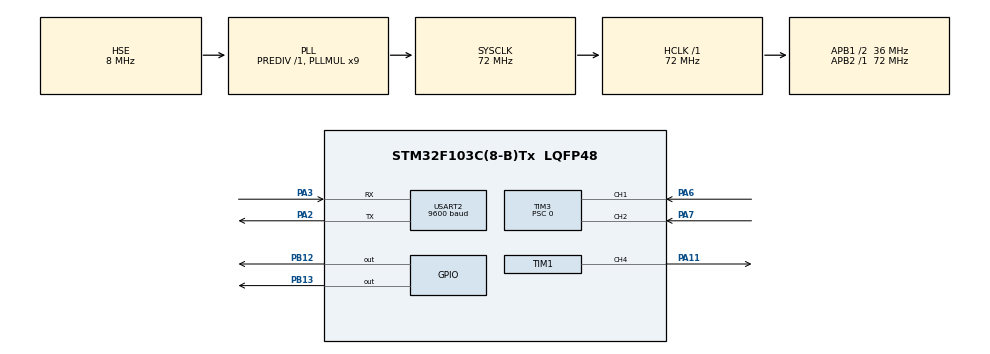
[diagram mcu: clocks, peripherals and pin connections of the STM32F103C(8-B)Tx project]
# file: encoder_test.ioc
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Mcu.Family=STM32F1
Mcu.Name=STM32F103C(8-B)Tx
Mcu.Package=LQFP48
NVIC.PriorityGroup=NVIC_PRIORITYGROUP_4
NVIC.TIM4_IRQn=true\:0\:0\:false\:false\:true\:true\:true\:true
PA11.Signal=S_TIM1_CH4
PA13.Mode=Serial_Wire
PA13.Signal=SYS_JTMS-SWDIO
PA14.Mode=Serial_Wire
PA14.Signal=SYS_JTCK-SWCLK
PA2.Mode=Asynchronous
PA2.Signal=USART2_TX
PA3.Mode=Asynchronous
PA3.Signal=USART2_RX
PA6.Signal=S_TIM3_CH1
PA7.Signal=S_TIM3_CH2
PB12.Signal=GPIO_Output
PB13.Signal=GPIO_Output
PD0-OSC_IN.Mode=HSE-External-Oscillator
PD0-OSC_IN.Signal=RCC_OSC_IN
PD1-OSC_OUT.Mode=HSE-External-Oscillator
PD1-OSC_OUT.Signal=RCC_OSC_OUT
ProjectManager.HeapSize=0x200
ProjectManager.StackSize=0x400
ProjectManager.TargetToolchain=MDK-ARM V5
RCC.AHBFreq_Value=72000000
RCC.APB1CLKDivider=RCC_HCLK_DIV2
RCC.APB1Freq_Value=36000000
RCC.APB1TimFreq_Value=72000000
RCC.APB2Freq_Value=72000000
RCC.APB2TimFreq_Value=72000000
RCC.HCLKFreq_Value=72000000
RCC.PLLMUL=RCC_PLL_MUL9
RCC.PLLSourceVirtual=RCC_PLLSOURCE_HSE
RCC.SYSCLKFreq_VALUE=72000000
RCC.SYSCLKSource=RCC_SYSCLKSOURCE_PLLCLK
RCC.USBFreq_Value=72000000
SH.S_TIM1_CH4.0=TIM1_CH4,PWM Generation4 CH4
SH.S_TIM3_CH1.0=TIM3_CH1,Encoder_Interface
SH.S_TIM3_CH2.0=TIM3_CH2,Encoder_Interface
TIM1.Channel-PWM\ Generation4\ CH4=TIM_CHANNEL_4
TIM1.Period=3600-1
TIM1.Prescaler=1-1
TIM3.EncoderMode=TIM_ENCODERMODE_TI1
TIM3.Period=5000-1
TIM3.Prescaler=0
USART2.BaudRate=9600
USART2.VirtualMode=VM_ASYNC
VP_TIM4_VS_ClockSourceINT.Mode=Internal
board=custom

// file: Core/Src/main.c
/* USER CODE BEGIN Header */
/**
  ******************************************************************************
  * @file           : main.c
  * @brief          : Main program body
  ******************************************************************************
  * @attention
  *
  * Copyright (c) 2024 STMicroelectronics.
  * All rights reserved.
  *
  * This software is licensed under terms that can be found in the LICENSE file
  * in the root directory of this software component.
  * If no LICENSE file comes with this software, it is provided AS-IS.
  *
  ******************************************************************************
  */
/* USER CODE END Header */
#include "main.h"
#include "tim.h"
#include "usart.h"
#include "gpio.h"

/* USER CODE BEGIN Includes */
#include <stdio.h>
#include "Encoder.h"
#include "tb6612.h"
#include "pid.h"
/* USER CODE END Includes */

/* USER CODE BEGIN PV */
PID_Controller pid_;
float current_speed = 0, target_speed=100;
/* USER CODE END PV */

void SystemClock_Config(void);

int main(void)
{

  /* MCU Configuration--------------------------------------------------------*/

  /* Reset of all peripherals, Initializes the Flash interface and the Systick. */
  HAL_Init();

  /* Configure the system clock */
  SystemClock_Config();

  /* Initialize all configured peripherals */
  MX_GPIO_Init();
  MX_TIM3_Init();
  MX_USART2_UART_Init();
  MX_TIM1_Init();
  MX_TIM4_Init();
  /* USER CODE BEGIN 2 */
  Global_TIM_Init();
  motor_Init();
	Start_Encoder();
	printf("12120");
  PID_Init(&pid_,3.5,0.5,0);
  // Set_Speed(500);
  /* USER CODE END 2 */

  /* Infinite loop */
  /* USER CODE BEGIN WHILE */
  while (1)
  {
      //1.先获取转速
      current_speed = Read_Encoder_Speed();

      //2.计算pwm
      float pwm = PID_Update(&pid_,target_speed,current_speed,0.01);

      // pwm = (pwm > 3600) ? 3600 : (pwm < 0) ? 0 : pwm;
      Set_Speed(pwm);

			printf("%lf,%lf,%lf \n",current_speed,target_speed,pwm);	//760大概
			// printf("编码值：%d\r\n",cnt);	//760大概

      HAL_Delay(10);

    /* USER CODE END WHILE */

  }
}

void SystemClock_Config(void)
{
  RCC_OscInitTypeDef RCC_OscInitStruct = {0};
  RCC_ClkInitTypeDef RCC_ClkInitStruct = {0};

  /** Initializes the RCC Oscillators according to the specified parameters
  * in the RCC_OscInitTypeDef structure.
  */
  RCC_OscInitStruct.OscillatorType = RCC_OSCILLATORTYPE_HSE;
  RCC_OscInitStruct.HSEState = RCC_HSE_ON;
  RCC_OscInitStruct.HSEPredivValue = RCC_HSE_PREDIV_DIV1;
  RCC_OscInitStruct.HSIState = RCC_HSI_ON;
  RCC_OscInitStruct.PLL.PLLState = RCC_PLL_ON;
  RCC_OscInitStruct.PLL.PLLSource = RCC_PLLSOURCE_HSE;
  RCC_OscInitStruct.PLL.PLLMUL = RCC_PLL_MUL9;
  if (HAL_RCC_OscConfig(&RCC_OscInitStruct) != HAL_OK)
  {
    Error_Handler();
  }

  /** Initializes the CPU, AHB and APB buses clocks
  */
  RCC_ClkInitStruct.ClockType = RCC_CLOCKTYPE_HCLK|RCC_CLOCKTYPE_SYSCLK
                              |RCC_CLOCKTYPE_PCLK1|RCC_CLOCKTYPE_PCLK2;
  RCC_ClkInitStruct.SYSCLKSource = RCC_SYSCLKSOURCE_PLLCLK;
  RCC_ClkInitStruct.AHBCLKDivider = RCC_SYSCLK_DIV1;
  RCC_ClkInitStruct.APB1CLKDivider = RCC_HCLK_DIV2;
  RCC_ClkInitStruct.APB2CLKDivider = RCC_HCLK_DIV1;

  if (HAL_RCC_ClockConfig(&RCC_ClkInitStruct, FLASH_LATENCY_2) != HAL_OK)
  {
    Error_Handler();
  }
}

/* USER CODE BEGIN 4 */
/**
	重定向这个fputc 加上串口的传输函数
*/
int fputc(int ch,FILE *f)
{
		//
		HAL_UART_Transmit(&huart2,(uint8_t *)&ch,1,1000);	//串口实例 数据 字节数 传输时间
		return ch;
}
/* USER CODE END 4 */

void Error_Handler(void)
{
  __disable_irq();
  while (1)
  {
  }
}
